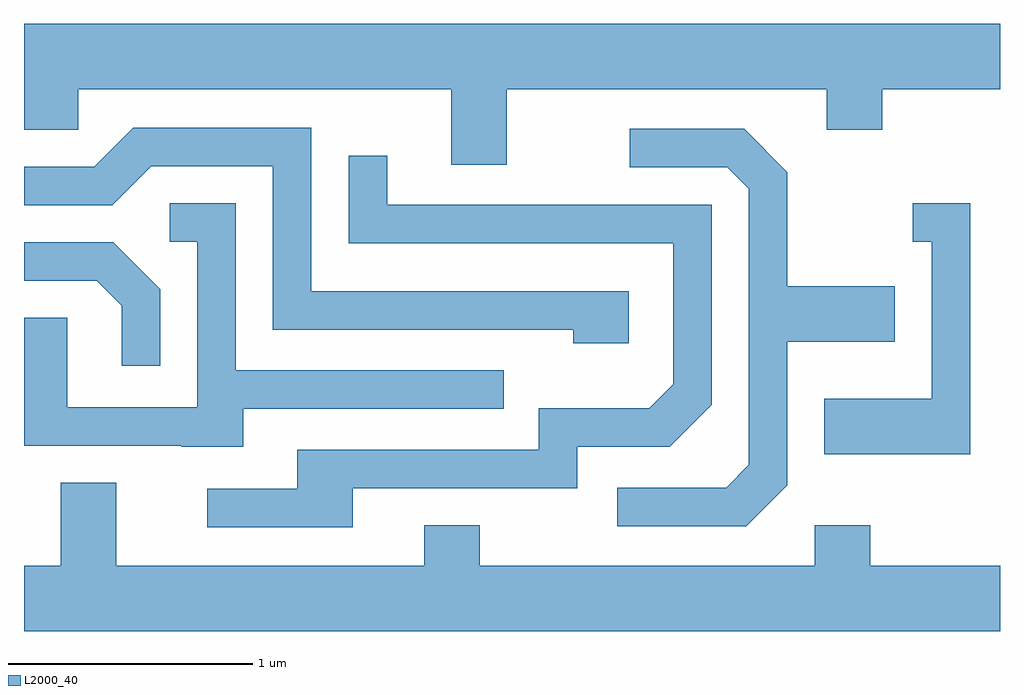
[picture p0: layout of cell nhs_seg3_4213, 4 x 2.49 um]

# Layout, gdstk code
import gdstk
lib = gdstk.Library(unit=1e-6, precision=1e-09)
def P(c, l, *ps):  # polygons
    for p in ps: c.add(gdstk.Polygon(p, *l))
L2000_40 = (2000, 40)

nhs_seg3_4213 = lib.new_cell('nhs_seg3_4213')
P(nhs_seg3_4213, L2000_40, [(309.589,1248.116),(310.901,1248.116),(310.901,1247.951),(311.129,1247.951),(311.129,1248.116),(311.611,1248.116),(311.611,1248.384),(307.611,1248.384),(307.611,1247.951),(307.834,1247.951),(307.834,1248.116),(309.361,1248.116),(309.361,1247.806),(309.589,1247.806)],
  [(310.089,1247.289),(308.789,1247.289),(308.789,1247.959),(308.059,1247.959),(307.899,1247.799),(307.611,1247.799),(307.611,1247.641),(307.972,1247.641),(308.132,1247.801),(308.631,1247.801),(308.631,1247.131),(309.861,1247.131),(309.861,1247.076),(310.089,1247.076)],
  [(310.739,1246.494),(310.739,1247.081),(311.179,1247.081),(311.179,1247.309),(310.739,1247.309),(310.739,1247.777),(310.562,1247.954),(310.093,1247.954),(310.093,1247.796),(310.494,1247.796),(310.581,1247.709),(310.581,1246.577),(310.489,1246.484),(310.043,1246.484),(310.043,1246.326),(310.572,1246.326)],
  [(308.959,1246.481),(309.879,1246.481),(309.879,1246.651),(310.257,1246.651),(310.429,1246.824),(310.429,1247.644),(309.099,1247.644),(309.099,1247.843),(308.941,1247.843),(308.941,1247.486),(310.271,1247.486),(310.271,1246.907),(310.174,1246.809),(309.721,1246.809),(309.721,1246.639),(308.731,1246.639),(308.731,1246.479),(308.363,1246.479),(308.363,1246.321),(308.959,1246.321)],
  [(311.489,1247.649),(311.253,1247.649),(311.253,1247.491),(311.331,1247.491),(311.331,1246.849),(310.891,1246.849),(310.891,1246.621),(311.489,1246.621)],
  [(308.509,1246.806),(309.578,1246.806),(309.578,1246.964),(308.479,1246.964),(308.479,1247.649),(308.208,1247.649),(308.208,1247.491),(308.321,1247.491),(308.321,1246.814),(307.789,1246.814),(307.789,1247.179),(307.611,1247.179),(307.611,1246.656),(308.255,1246.656),(308.255,1246.651),(308.509,1246.651)],
  [(308.169,1247.297),(307.977,1247.489),(307.611,1247.489),(307.611,1247.331),(307.909,1247.331),(308.011,1247.229),(308.011,1246.983),(308.169,1246.983)],
  [(311.611,1246.164),(311.079,1246.164),(311.079,1246.329),(310.851,1246.329),(310.851,1246.164),(309.479,1246.164),(309.479,1246.329),(309.251,1246.329),(309.251,1246.164),(307.989,1246.164),(307.989,1246.504),(307.761,1246.504),(307.761,1246.164),(307.611,1246.164),(307.611,1245.896),(311.611,1245.896)])

lib.write_gds('nhs_seg3_4213.gds')
